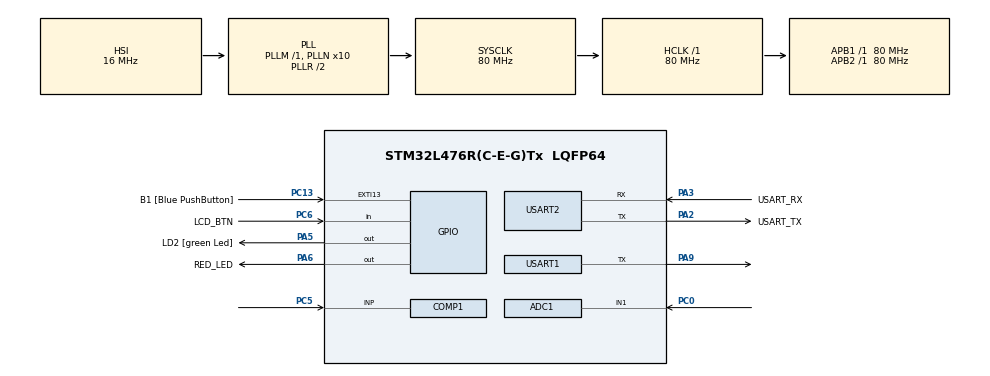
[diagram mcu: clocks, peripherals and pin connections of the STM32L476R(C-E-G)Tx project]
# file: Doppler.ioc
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ADC1.Channel-0\#ChannelRegularConversion=ADC_CHANNEL_1
ADC1.ClockPrescaler=ADC_CLOCK_ASYNC_DIV64
ADC1.ContinuousConvMode=ENABLE
ADC1.DMAContinuousRequests=ENABLE
ADC1.NbrOfConversionFlag=1
ADC1.OffsetNumber-0\#ChannelRegularConversion=ADC_OFFSET_NONE
ADC1.Rank-0\#ChannelRegularConversion=1
ADC1.SamplingTime-0\#ChannelRegularConversion=ADC_SAMPLETIME_2CYCLES_5
ADC1.master=1
COMP1.TriggerMode=COMP_TRIGGERMODE_IT_RISING
Dma.ADC1.0.Direction=DMA_PERIPH_TO_MEMORY
Dma.ADC1.0.Instance=DMA1_Channel1
Dma.ADC1.0.MemDataAlignment=DMA_MDATAALIGN_HALFWORD
Dma.ADC1.0.MemInc=DMA_MINC_ENABLE
Dma.ADC1.0.Mode=DMA_NORMAL
Dma.ADC1.0.PeriphDataAlignment=DMA_PDATAALIGN_HALFWORD
Dma.ADC1.0.PeriphInc=DMA_PINC_DISABLE
Dma.ADC1.0.Priority=DMA_PRIORITY_MEDIUM
Dma.Request0=ADC1
Mcu.Family=STM32L4
Mcu.Name=STM32L476R(C-E-G)Tx
Mcu.Package=LQFP64
NVIC.COMP_IRQn=true\:0\:0\:false\:false\:true\:false\:true
NVIC.DMA1_Channel1_IRQn=true\:0\:0\:false\:false\:true\:false\:true
NVIC.PriorityGroup=NVIC_PRIORITYGROUP_4
NVIC.TIM6_DAC_IRQn=true\:0\:0\:false\:false\:true\:true\:true
PA13\ (JTMS-SWDIO).GPIO_Label=TMS
PA13\ (JTMS-SWDIO).Mode=Serial_Wire
PA13\ (JTMS-SWDIO).Signal=SYS_JTMS-SWDIO
PA14\ (JTCK-SWCLK).GPIO_Label=TCK
PA14\ (JTCK-SWCLK).Mode=Serial_Wire
PA14\ (JTCK-SWCLK).Signal=SYS_JTCK-SWCLK
PA2.GPIO_Label=USART_TX
PA2.GPIO_Mode=GPIO_MODE_AF_PP
PA2.GPIO_PuPd=GPIO_NOPULL
PA2.GPIO_Speed=GPIO_SPEED_FREQ_VERY_HIGH
PA2.Mode=Asynchronous
PA2.Signal=USART2_TX
PA3.GPIO_Label=USART_RX
PA3.GPIO_Mode=GPIO_MODE_AF_PP
PA3.GPIO_PuPd=GPIO_NOPULL
PA3.GPIO_Speed=GPIO_SPEED_FREQ_VERY_HIGH
PA3.Mode=Asynchronous
PA3.Signal=USART2_RX
PA5.GPIO_Label=LD2 [green Led]
PA5.GPIO_ModeDefaultOutputPP=GPIO_MODE_OUTPUT_PP
PA5.GPIO_PuPd=GPIO_NOPULL
PA5.GPIO_Speed=GPIO_SPEED_FREQ_LOW
PA5.Signal=GPIO_Output
PA6.GPIO_Label=RED_LED
PA6.PinState=GPIO_PIN_SET
PA6.Signal=GPIO_Output
PA9.Mode=Half_duplex(single_wire_mode)
PA9.Signal=USART1_TX
PB3\ (JTDO-TRACESWO).GPIO_Label=SWO
PB3\ (JTDO-TRACESWO).Signal=SYS_JTDO-SWO
PC0.Signal=ADCx_IN1
PC13.GPIO_Label=B1 [Blue PushButton]
PC13.GPIO_ModeDefaultEXTI=GPIO_MODE_IT_FALLING
PC13.GPIO_PuPd=GPIO_PULLUP
PC13.Signal=GPXTI13
PC14-OSC32_IN\ (PC14).Mode=LSE-External-Oscillator
PC14-OSC32_IN\ (PC14).Signal=RCC_OSC32_IN
PC15-OSC32_OUT\ (PC15).Mode=LSE-External-Oscillator
PC15-OSC32_OUT\ (PC15).Signal=RCC_OSC32_OUT
PC5.Mode=INP
PC5.Signal=COMP1_INP
PC6.GPIO_Label=LCD_BTN
PC6.GPIO_PuPd=GPIO_PULLUP
PC6.Signal=GPIO_Input
PH0-OSC_IN\ (PH0).Signal=RCC_OSC_IN
PH1-OSC_OUT\ (PH1).Signal=RCC_OSC_OUT
ProjectManager.HeapSize=0x200
ProjectManager.StackSize=0x400
ProjectManager.TargetToolchain=STM32CubeIDE
RCC.ADCFreq_Value=16000000
RCC.AHBFreq_Value=80000000
RCC.APB1Freq_Value=80000000
RCC.APB1TimFreq_Value=80000000
RCC.APB2Freq_Value=80000000
RCC.APB2TimFreq_Value=80000000
RCC.CortexFreq_Value=80000000
RCC.HCLKFreq_Value=80000000
RCC.HSE_VALUE=8000000
RCC.HSI_VALUE=16000000
RCC.MSI_VALUE=4000000
RCC.PLLN=10
RCC.PLLSAI1R=RCC_PLLR_DIV8
RCC.PLLSourceVirtual=RCC_PLLSOURCE_HSI
RCC.PREFETCH_ENABLE=1
RCC.SYSCLKFreq_VALUE=80000000
RCC.SYSCLKSource=RCC_SYSCLKSOURCE_PLLCLK
RCC.USBFreq_Value=64000000
RCC.VCOOutputFreq_Value=160000000
SH.ADCx_IN1.0=ADC1_IN1,IN1-Single-Ended
TIM6.Prescaler=244
USART1.BaudRate=57600
USART1.DMADisableonRxErrorParam=ADVFEATURE_DMA_DISABLEONRXERROR
USART1.MSBFirstParam=ADVFEATURE_MSBFIRST_DISABLE
USART1.Mode=MODE_TX
USART1.VirtualMode-Half_duplex(single_wire_mode)=VM_ASYNC
USART2.VirtualMode-Asynchronous=VM_ASYNC
VP_COMP1_VS_VREFINT.Mode=VREFINT
VP_TIM1_VS_ClockSourceINT.Mode=Internal
VP_TIM6_VS_ClockSourceINT.Mode=Enable_Timer
board=NUCLEO-L476RG

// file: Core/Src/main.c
/* USER CODE BEGIN Header */
/**
  ******************************************************************************
  * @file           : main.c
  * @brief          : Main program body
  ******************************************************************************
  * @attention
  *
  * <h2><center>&copy; Copyright (c) 2021 STMicroelectronics.
  * All rights reserved.</center></h2>
  *
  * This software component is licensed by ST under BSD 3-Clause license,
  * the "License"; You may not use this file except in compliance with the
  * License. You may obtain a copy of the License at:
  *                        opensource.org/licenses/BSD-3-Clause
  *
  ******************************************************************************
  */
/* USER CODE END Header */
#include "main.h"

/* USER CODE BEGIN Includes */
#include "display.h"
#include "adc.h"
#include "fft.h"
#include "RS485.h"
#include "comp.h"
/* USER CODE END Includes */

/* USER CODE BEGIN PD */
#define BTN_DEBOUNCE_TIME 100
/* USER CODE END PD */

ADC_HandleTypeDef hadc1;
DMA_HandleTypeDef hdma_adc1;

COMP_HandleTypeDef hcomp1;

TIM_HandleTypeDef htim1;
TIM_HandleTypeDef htim6;

UART_HandleTypeDef huart1;
UART_HandleTypeDef huart2;

/* USER CODE BEGIN PV */

bool prevLCDBtnState = false;
uint32_t prevLCDBtnTimestamp = 0;

bool prevBlueBtnState = false;
uint32_t prevBlueBtnTimestamp = 0;

// Type for velocity source
typedef enum
{
	Comparator,
	FFT
} EVelocitySource;

// Default to comparator
EVelocitySource velocitySource = Comparator;

/* USER CODE END PV */

void SystemClock_Config(void);
static void MX_GPIO_Init(void);
static void MX_DMA_Init(void);
static void MX_USART2_UART_Init(void);
static void MX_ADC1_Init(void);
static void MX_TIM1_Init(void);
static void MX_USART1_UART_Init(void);
static void MX_COMP1_Init(void);
static void MX_TIM6_Init(void);

int main(void)
{

  /* MCU Configuration--------------------------------------------------------*/

  /* Reset of all peripherals, Initializes the Flash interface and the Systick. */
  HAL_Init();

  /* Configure the system clock */
  SystemClock_Config();

  /* Initialize all configured peripherals */
  MX_GPIO_Init();
  MX_DMA_Init();
  MX_USART2_UART_Init();
  MX_ADC1_Init();
  MX_TIM1_Init();
  MX_USART1_UART_Init();
  MX_COMP1_Init();
  MX_TIM6_Init();
  /* USER CODE BEGIN 2 */
  //ADC_Calibrate(&hadc1);

  HAL_Delay(100);

  LCD_Init();

  LCD_SetCursor(0, 0);
  LCD_WriteString("hello");
  LCD_SetCursor(0, 1);
  LCD_WriteString("world");

  HAL_Delay(1000);

  //LCD_Clear();

  // Set LCD display state
  LCD_SetSpeedUnit(MetresPerSecond);

  // Display speed
  LCD_DisplaySpeed(3.14);

  HAL_Delay(1000);

  LCD_SetSpeedUnit(MilesPerHour);
  LCD_DisplaySpeed(2.718);

  // Take ADC measurement
  ADC_Measure(&hadc1);

  // Enable timer
  HAL_COMP_Start_IT(&hcomp1);
  HAL_StatusTypeDef res = HAL_TIM_Base_Start_IT(&htim6);

  /* USER CODE END 2 */

  /* Infinite loop */
  /* USER CODE BEGIN WHILE */
  while (1)
  {
	  // Start ADC Conversion
	  // Pass (The ADC Instance, Result Buffer Address, Buffer Length)

	  // Poll LCD button pin, inverted because it is active LOW
	  bool LCDBtnState = !HAL_GPIO_ReadPin(LCD_BTN_GPIO_Port, LCD_BTN_Pin);
	  bool BlueBtnState = !HAL_GPIO_ReadPin(B1_GPIO_Port, B1_Pin);

	  // LCD BUTTON ----------------------------------------
	  // Only respond when newly depressed and debounce
	  if (LCDBtnState && !prevLCDBtnState && (HAL_GetTick() > prevLCDBtnTimestamp + BTN_DEBOUNCE_TIME))
	  {
		  LCD_ButtonHandler();
		  prevLCDBtnTimestamp = HAL_GetTick();
	  }
	  prevLCDBtnState = LCDBtnState;

	  // BLUE BUTTON -------------------------------------------
	  // Only respond when newly depressed and debounce
	  if (BlueBtnState && !prevBlueBtnState && (HAL_GetTick() > prevBlueBtnTimestamp + BTN_DEBOUNCE_TIME))
	  {
		  //velocitySource == Comparator ? FFT : Comparator;
		  if (velocitySource == Comparator)
		  {
			  velocitySource = FFT;
		  }
		  else
		  {
			  velocitySource = Comparator;
			  prevBlueBtnTimestamp = HAL_GetTick();
		  }

		  HAL_GPIO_WritePin(LD2_GPIO_Port, LD2_Pin, velocitySource == Comparator); // Green LED lit if comparator
	  }
	  prevBlueBtnState = BlueBtnState;

	  // Update speed with speed derived from selected source
	  // I love a good one-liner
	  float newSpeed = velocitySource == Comparator ? compSpeed : fftSpeed;

	  // Take measurement
	  HAL_DMA_StateTypeDef dmaState = HAL_DMA_GetState(&hdma_adc1);
	  if (dmaState == HAL_DMA_STATE_READY /*&& HAL_ADC_GetState(&hadc1) & (HAL_ADC_STATE_READY | HAL_ADC_STATE_REG_EOC)*/)
		  ADC_Measure(&hadc1);

	  // Display new speed
	  LCD_DisplaySpeed(newSpeed);
	  transmit(&huart1, (uint8_t)newSpeed);
	  HAL_Delay(200); // Keep things visible

    /* USER CODE END WHILE */

  }
}

void SystemClock_Config(void)
{
  RCC_OscInitTypeDef RCC_OscInitStruct = {0};
  RCC_ClkInitTypeDef RCC_ClkInitStruct = {0};

  /** Configure the main internal regulator output voltage
  */
  if (HAL_PWREx_ControlVoltageScaling(PWR_REGULATOR_VOLTAGE_SCALE1) != HAL_OK)
  {
    Error_Handler();
  }
  /** Initializes the RCC Oscillators according to the specified parameters
  * in the RCC_OscInitTypeDef structure.
  */
  RCC_OscInitStruct.OscillatorType = RCC_OSCILLATORTYPE_HSI;
  RCC_OscInitStruct.HSIState = RCC_HSI_ON;
  RCC_OscInitStruct.HSICalibrationValue = RCC_HSICALIBRATION_DEFAULT;
  RCC_OscInitStruct.PLL.PLLState = RCC_PLL_ON;
  RCC_OscInitStruct.PLL.PLLSource = RCC_PLLSOURCE_HSI;
  RCC_OscInitStruct.PLL.PLLM = 1;
  RCC_OscInitStruct.PLL.PLLN = 10;
  RCC_OscInitStruct.PLL.PLLP = RCC_PLLP_DIV7;
  RCC_OscInitStruct.PLL.PLLQ = RCC_PLLQ_DIV2;
  RCC_OscInitStruct.PLL.PLLR = RCC_PLLR_DIV2;
  if (HAL_RCC_OscConfig(&RCC_OscInitStruct) != HAL_OK)
  {
    Error_Handler();
  }
  /** Initializes the CPU, AHB and APB buses clocks
  */
  RCC_ClkInitStruct.ClockType = RCC_CLOCKTYPE_HCLK|RCC_CLOCKTYPE_SYSCLK
                              |RCC_CLOCKTYPE_PCLK1|RCC_CLOCKTYPE_PCLK2;
  RCC_ClkInitStruct.SYSCLKSource = RCC_SYSCLKSOURCE_PLLCLK;
  RCC_ClkInitStruct.AHBCLKDivider = RCC_SYSCLK_DIV1;
  RCC_ClkInitStruct.APB1CLKDivider = RCC_HCLK_DIV1;
  RCC_ClkInitStruct.APB2CLKDivider = RCC_HCLK_DIV1;

  if (HAL_RCC_ClockConfig(&RCC_ClkInitStruct, FLASH_LATENCY_4) != HAL_OK)
  {
    Error_Handler();
  }
}

static void MX_ADC1_Init(void)
{

  ADC_MultiModeTypeDef multimode = {0};
  ADC_ChannelConfTypeDef sConfig = {0};

  /** Common config
  */
  hadc1.Instance = ADC1;
  hadc1.Init.ClockPrescaler = ADC_CLOCK_ASYNC_DIV64;
  hadc1.Init.Resolution = ADC_RESOLUTION_12B;
  hadc1.Init.DataAlign = ADC_DATAALIGN_RIGHT;
  hadc1.Init.ScanConvMode = ADC_SCAN_DISABLE;
  hadc1.Init.EOCSelection = ADC_EOC_SINGLE_CONV;
  hadc1.Init.LowPowerAutoWait = DISABLE;
  hadc1.Init.ContinuousConvMode = ENABLE;
  hadc1.Init.NbrOfConversion = 1;
  hadc1.Init.DiscontinuousConvMode = DISABLE;
  hadc1.Init.ExternalTrigConv = ADC_SOFTWARE_START;
  hadc1.Init.ExternalTrigConvEdge = ADC_EXTERNALTRIGCONVEDGE_NONE;
  hadc1.Init.DMAContinuousRequests = ENABLE;
  hadc1.Init.Overrun = ADC_OVR_DATA_PRESERVED;
  hadc1.Init.OversamplingMode = DISABLE;
  if (HAL_ADC_Init(&hadc1) != HAL_OK)
  {
    Error_Handler();
  }
  /** Configure the ADC multi-mode
  */
  multimode.Mode = ADC_MODE_INDEPENDENT;
  if (HAL_ADCEx_MultiModeConfigChannel(&hadc1, &multimode) != HAL_OK)
  {
    Error_Handler();
  }
  /** Configure Regular Channel
  */
  sConfig.Channel = ADC_CHANNEL_1;
  sConfig.Rank = ADC_REGULAR_RANK_1;
  sConfig.SamplingTime = ADC_SAMPLETIME_2CYCLES_5;
  sConfig.SingleDiff = ADC_SINGLE_ENDED;
  sConfig.OffsetNumber = ADC_OFFSET_NONE;
  sConfig.Offset = 0;
  if (HAL_ADC_ConfigChannel(&hadc1, &sConfig) != HAL_OK)
  {
    Error_Handler();
  }

}

static void MX_COMP1_Init(void)
{

  hcomp1.Instance = COMP1;
  hcomp1.Init.InvertingInput = COMP_INPUT_MINUS_VREFINT;
  hcomp1.Init.NonInvertingInput = COMP_INPUT_PLUS_IO1;
  hcomp1.Init.OutputPol = COMP_OUTPUTPOL_NONINVERTED;
  hcomp1.Init.Hysteresis = COMP_HYSTERESIS_NONE;
  hcomp1.Init.BlankingSrce = COMP_BLANKINGSRC_NONE;
  hcomp1.Init.Mode = COMP_POWERMODE_HIGHSPEED;
  hcomp1.Init.WindowMode = COMP_WINDOWMODE_DISABLE;
  hcomp1.Init.TriggerMode = COMP_TRIGGERMODE_IT_RISING;
  if (HAL_COMP_Init(&hcomp1) != HAL_OK)
  {
    Error_Handler();
  }

}

static void MX_TIM1_Init(void)
{

  TIM_ClockConfigTypeDef sClockSourceConfig = {0};
  TIM_MasterConfigTypeDef sMasterConfig = {0};

  htim1.Instance = TIM1;
  htim1.Init.Prescaler = 0;
  htim1.Init.CounterMode = TIM_COUNTERMODE_UP;
  htim1.Init.Period = 65535;
  htim1.Init.ClockDivision = TIM_CLOCKDIVISION_DIV1;
  htim1.Init.RepetitionCounter = 0;
  htim1.Init.AutoReloadPreload = TIM_AUTORELOAD_PRELOAD_DISABLE;
  if (HAL_TIM_Base_Init(&htim1) != HAL_OK)
  {
    Error_Handler();
  }
  sClockSourceConfig.ClockSource = TIM_CLOCKSOURCE_INTERNAL;
  if (HAL_TIM_ConfigClockSource(&htim1, &sClockSourceConfig) != HAL_OK)
  {
    Error_Handler();
  }
  sMasterConfig.MasterOutputTrigger = TIM_TRGO_RESET;
  sMasterConfig.MasterOutputTrigger2 = TIM_TRGO2_RESET;
  sMasterConfig.MasterSlaveMode = TIM_MASTERSLAVEMODE_DISABLE;
  if (HAL_TIMEx_MasterConfigSynchronization(&htim1, &sMasterConfig) != HAL_OK)
  {
    Error_Handler();
  }

}

static void MX_TIM6_Init(void)
{

  TIM_MasterConfigTypeDef sMasterConfig = {0};

  htim6.Instance = TIM6;
  htim6.Init.Prescaler = 244;
  htim6.Init.CounterMode = TIM_COUNTERMODE_UP;
  htim6.Init.Period = 65535;
  htim6.Init.AutoReloadPreload = TIM_AUTORELOAD_PRELOAD_DISABLE;
  if (HAL_TIM_Base_Init(&htim6) != HAL_OK)
  {
    Error_Handler();
  }
  sMasterConfig.MasterOutputTrigger = TIM_TRGO_RESET;
  sMasterConfig.MasterSlaveMode = TIM_MASTERSLAVEMODE_DISABLE;
  if (HAL_TIMEx_MasterConfigSynchronization(&htim6, &sMasterConfig) != HAL_OK)
  {
    Error_Handler();
  }

}

static void MX_USART1_UART_Init(void)
{

  huart1.Instance = USART1;
  huart1.Init.BaudRate = 57600;
  huart1.Init.WordLength = UART_WORDLENGTH_8B;
  huart1.Init.StopBits = UART_STOPBITS_1;
  huart1.Init.Parity = UART_PARITY_NONE;
  huart1.Init.Mode = UART_MODE_TX;
  huart1.Init.HwFlowCtl = UART_HWCONTROL_NONE;
  huart1.Init.OverSampling = UART_OVERSAMPLING_16;
  huart1.Init.OneBitSampling = UART_ONE_BIT_SAMPLE_DISABLE;
  huart1.AdvancedInit.AdvFeatureInit = UART_ADVFEATURE_DMADISABLEONERROR_INIT;
  huart1.AdvancedInit.DMADisableonRxError = UART_ADVFEATURE_DMA_DISABLEONRXERROR;
  if (HAL_HalfDuplex_Init(&huart1) != HAL_OK)
  {
    Error_Handler();
  }

}

static void MX_USART2_UART_Init(void)
{

  huart2.Instance = USART2;
  huart2.Init.BaudRate = 115200;
  huart2.Init.WordLength = UART_WORDLENGTH_8B;
  huart2.Init.StopBits = UART_STOPBITS_1;
  huart2.Init.Parity = UART_PARITY_NONE;
  huart2.Init.Mode = UART_MODE_TX_RX;
  huart2.Init.HwFlowCtl = UART_HWCONTROL_NONE;
  huart2.Init.OverSampling = UART_OVERSAMPLING_16;
  huart2.Init.OneBitSampling = UART_ONE_BIT_SAMPLE_DISABLE;
  huart2.AdvancedInit.AdvFeatureInit = UART_ADVFEATURE_NO_INIT;
  if (HAL_UART_Init(&huart2) != HAL_OK)
  {
    Error_Handler();
  }

}

static void MX_DMA_Init(void)
{

  /* DMA controller clock enable */
  __HAL_RCC_DMA1_CLK_ENABLE();

  /* DMA interrupt init */
  /* DMA1_Channel1_IRQn interrupt configuration */
  HAL_NVIC_SetPriority(DMA1_Channel1_IRQn, 0, 0);
  HAL_NVIC_EnableIRQ(DMA1_Channel1_IRQn);

}

static void MX_GPIO_Init(void)
{
  GPIO_InitTypeDef GPIO_InitStruct = {0};

  /* GPIO Ports Clock Enable */
  __HAL_RCC_GPIOC_CLK_ENABLE();
  __HAL_RCC_GPIOH_CLK_ENABLE();
  __HAL_RCC_GPIOA_CLK_ENABLE();
  __HAL_RCC_GPIOB_CLK_ENABLE();

  /*Configure GPIO pin Output Level */
  HAL_GPIO_WritePin(LD2_GPIO_Port, LD2_Pin, GPIO_PIN_RESET);

  /*Configure GPIO pin Output Level */
  HAL_GPIO_WritePin(RED_LED_GPIO_Port, RED_LED_Pin, GPIO_PIN_SET);

  /*Configure GPIO pin : B1_Pin */
  GPIO_InitStruct.Pin = B1_Pin;
  GPIO_InitStruct.Mode = GPIO_MODE_IT_FALLING;
  GPIO_InitStruct.Pull = GPIO_PULLUP;
  HAL_GPIO_Init(B1_GPIO_Port, &GPIO_InitStruct);

  /*Configure GPIO pins : LD2_Pin RED_LED_Pin */
  GPIO_InitStruct.Pin = LD2_Pin|RED_LED_Pin;
  GPIO_InitStruct.Mode = GPIO_MODE_OUTPUT_PP;
  GPIO_InitStruct.Pull = GPIO_NOPULL;
  GPIO_InitStruct.Speed = GPIO_SPEED_FREQ_LOW;
  HAL_GPIO_Init(GPIOA, &GPIO_InitStruct);

  /*Configure GPIO pin : LCD_BTN_Pin */
  GPIO_InitStruct.Pin = LCD_BTN_Pin;
  GPIO_InitStruct.Mode = GPIO_MODE_INPUT;
  GPIO_InitStruct.Pull = GPIO_PULLUP;
  HAL_GPIO_Init(LCD_BTN_GPIO_Port, &GPIO_InitStruct);

}

/* USER CODE BEGIN 4 */
void HAL_GPIO_EXTI_Callback(uint16_t GPIO_Pin)
{
    if(GPIO_Pin == LCD_BTN_Pin) // If the INT source is the LCD button pin
    {
    	//LCD_ButtonHandler();
	}
}

// Called when first half of buffer is filled
void HAL_ADC_ConvHalfCpltCallback(ADC_HandleTypeDef* hadc)
{

}

// Called when ADC buffer is completely filled
void HAL_ADC_ConvCpltCallback(ADC_HandleTypeDef* hadc)
{
	// Run handler in ADC lib
	ADC_HandleBufferFull(&hadc1, &hdma_adc1);

	fftSpeed = getSpeed(ADC_BUFFER);

	// For testing purposes, display stuff using 'random' ADC data
	//fftSpeed = 40960.0 / ADC_BUFFER[HAL_GetTick() % 1024];

	// Required to run multiple times
	HAL_ADC_Stop(&hadc1);
}

/* USER CODE END 4 */

void Error_Handler(void)
{
  __disable_irq();
  while (1)
  {
  }
}
